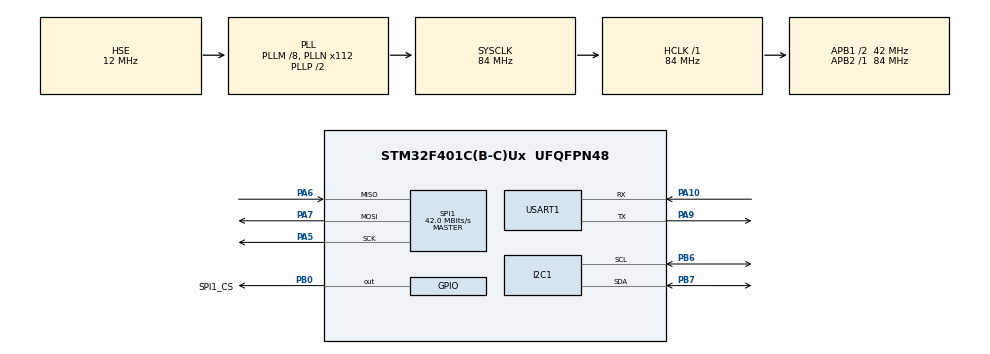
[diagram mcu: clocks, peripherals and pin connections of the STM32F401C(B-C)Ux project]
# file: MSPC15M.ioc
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Mcu.Family=STM32F4
Mcu.Name=STM32F401C(B-C)Ux
Mcu.Package=UFQFPN48
NVIC.PriorityGroup=NVIC_PRIORITYGROUP_4
PA10.Mode=Asynchronous
PA10.Signal=USART1_RX
PA5.Mode=Full_Duplex_Master
PA5.Signal=SPI1_SCK
PA6.Mode=Full_Duplex_Master
PA6.Signal=SPI1_MISO
PA7.Mode=Full_Duplex_Master
PA7.Signal=SPI1_MOSI
PA9.Mode=Asynchronous
PA9.Signal=USART1_TX
PB0.GPIO_Label=SPI1_CS
PB0.Signal=GPIO_Output
PB6.Mode=I2C
PB6.Signal=I2C1_SCL
PB7.Mode=I2C
PB7.Signal=I2C1_SDA
PC14-OSC32_IN.Mode=LSE-External-Oscillator
PC14-OSC32_IN.Signal=RCC_OSC32_IN
PC15-OSC32_OUT.Mode=LSE-External-Oscillator
PC15-OSC32_OUT.Signal=RCC_OSC32_OUT
PH0\ -\ OSC_IN.Mode=HSE-External-Oscillator
PH0\ -\ OSC_IN.Signal=RCC_OSC_IN
PH1\ -\ OSC_OUT.Mode=HSE-External-Oscillator
PH1\ -\ OSC_OUT.Signal=RCC_OSC_OUT
ProjectManager.HeapSize=0x200
ProjectManager.StackSize=0x400
ProjectManager.TargetToolchain=STM32CubeIDE
RCC.48MHZClocksFreq_Value=42000000
RCC.AHBFreq_Value=84000000
RCC.APB1CLKDivider=RCC_HCLK_DIV2
RCC.APB1Freq_Value=42000000
RCC.APB1TimFreq_Value=84000000
RCC.APB2Freq_Value=84000000
RCC.APB2TimFreq_Value=84000000
RCC.CortexFreq_Value=84000000
RCC.HCLKFreq_Value=84000000
RCC.HSE_VALUE=12000000
RCC.HSI_VALUE=16000000
RCC.PLLM=8
RCC.PLLN=112
RCC.PLLSourceVirtual=RCC_PLLSOURCE_HSE
RCC.SYSCLKFreq_VALUE=84000000
RCC.SYSCLKSource=RCC_SYSCLKSOURCE_PLLCLK
RCC.VCOOutputFreq_Value=168000000
SPI1.BaudRatePrescaler=SPI_BAUDRATEPRESCALER_2
SPI1.CalculateBaudRate=42.0 MBits/s
SPI1.Direction=SPI_DIRECTION_2LINES
SPI1.Mode=SPI_MODE_MASTER
SPI1.VirtualType=VM_MASTER
USART1.VirtualMode=VM_ASYNC
board=custom

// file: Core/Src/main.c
/* USER CODE BEGIN Header */
/**
  ******************************************************************************
  * @file           : main.c
  * @brief          : Main program body
  ******************************************************************************
  * @attention
  *
  * Copyright (c) 2023 STMicroelectronics.
  * All rights reserved.
  *
  * This software is licensed under terms that can be found in the LICENSE file
  * in the root directory of this software component.
  * If no LICENSE file comes with this software, it is provided AS-IS.
  *
  ******************************************************************************
  */
/* USER CODE END Header */
#include "main.h"
#include "i2c.h"
#include "spi.h"
#include "usart.h"
#include "gpio.h"

/* USER CODE BEGIN Includes */
#include "stdio.h"
#include "MSPC15M.h"
/* USER CODE END Includes */

/* USER CODE BEGIN PV */
MSPC15M_OTP_Typedef MSPC15M_OTP_Structure;
/* USER CODE END PV */

void SystemClock_Config(void);

int main(void) {

    /* MCU Configuration--------------------------------------------------------*/

    /* Reset of all peripherals, Initializes the Flash interface and the Systick. */
    HAL_Init();

    /* Configure the system clock */
    SystemClock_Config();

    /* Initialize all configured peripherals */
    MX_GPIO_Init();
    MX_I2C1_Init();
    MX_SPI1_Init();
    MX_USART1_UART_Init();
    /* USER CODE BEGIN 2 */
    uint8_t data_buffer[6];
    uint8_t rx_buff[256] = {0};
    float temp_f, press_f = 0.0f;
    int32_t Tadc, Braw = 0;
    /* USER CODE END 2 */

    /* Infinite loop */
    /* USER CODE BEGIN WHILE */
    MSPC15M_Init(MSPC15M_IIC_ADDR, &MSPC15M_OTP_Structure);
//    MSPC15M_Init_SPI(&MSPC15M_OTP_Structure);
    HAL_Delay(50);
    while (1) {
        /* USER CODE END WHILE */

        /* USER CODE BEGIN 3 */
        HAL_Delay(70);
        // temperature
        data_buffer[0] = MSPC15M_ReadData(MSPC15M_IIC_ADDR, 0x58);
        data_buffer[1] = MSPC15M_ReadData(MSPC15M_IIC_ADDR, 0x59);
//        MSPC15M_ReadBuffer_SPI(0x58, rx_buff, 4);
//        data_buffer[0] = rx_buff[2];
//        data_buffer[1] = rx_buff[3];
        Tadc = (data_buffer[0] & 0x7f) << 8 | data_buffer[1];
        HAL_Delay(10);

        // PRESSURE
        data_buffer[2] = MSPC15M_ReadData(MSPC15M_IIC_ADDR, 0x55);
        data_buffer[3] = MSPC15M_ReadData(MSPC15M_IIC_ADDR, 0x56);
        data_buffer[4] = MSPC15M_ReadData(MSPC15M_IIC_ADDR, 0x57);
//        MSPC15M_ReadBuffer_SPI(0x55, rx_buff, 5);
//        data_buffer[2] = rx_buff[2];
//        data_buffer[3] = rx_buff[3];
//        data_buffer[4] = rx_buff[4];
        Braw = data_buffer[2] << 16 | data_buffer[3] << 8 | data_buffer[4];

        MSPC15M_Calc(Braw, Tadc, &press_f, &temp_f, &MSPC15M_OTP_Structure);
        printf("MSPC15M: P = %.3fPa, T = %.3fC\r\n", press_f, temp_f);
    }
    /* USER CODE END 3 */
}

void SystemClock_Config(void) {
    RCC_OscInitTypeDef RCC_OscInitStruct = {0};
    RCC_ClkInitTypeDef RCC_ClkInitStruct = {0};

    /** Configure the main internal regulator output voltage
    */
    __HAL_RCC_PWR_CLK_ENABLE();
    __HAL_PWR_VOLTAGESCALING_CONFIG(PWR_REGULATOR_VOLTAGE_SCALE2);

    /** Initializes the RCC Oscillators according to the specified parameters
    * in the RCC_OscInitTypeDef structure.
    */
    RCC_OscInitStruct.OscillatorType = RCC_OSCILLATORTYPE_HSE;
    RCC_OscInitStruct.HSEState = RCC_HSE_ON;
    RCC_OscInitStruct.PLL.PLLState = RCC_PLL_ON;
    RCC_OscInitStruct.PLL.PLLSource = RCC_PLLSOURCE_HSE;
    RCC_OscInitStruct.PLL.PLLM = 8;
    RCC_OscInitStruct.PLL.PLLN = 112;
    RCC_OscInitStruct.PLL.PLLP = RCC_PLLP_DIV2;
    RCC_OscInitStruct.PLL.PLLQ = 4;
    if (HAL_RCC_OscConfig(&RCC_OscInitStruct) != HAL_OK) {
        Error_Handler();
    }

    /** Initializes the CPU, AHB and APB buses clocks
    */
    RCC_ClkInitStruct.ClockType = RCC_CLOCKTYPE_HCLK | RCC_CLOCKTYPE_SYSCLK
                                  | RCC_CLOCKTYPE_PCLK1 | RCC_CLOCKTYPE_PCLK2;
    RCC_ClkInitStruct.SYSCLKSource = RCC_SYSCLKSOURCE_PLLCLK;
    RCC_ClkInitStruct.AHBCLKDivider = RCC_SYSCLK_DIV1;
    RCC_ClkInitStruct.APB1CLKDivider = RCC_HCLK_DIV2;
    RCC_ClkInitStruct.APB2CLKDivider = RCC_HCLK_DIV1;

    if (HAL_RCC_ClockConfig(&RCC_ClkInitStruct, FLASH_LATENCY_2) != HAL_OK) {
        Error_Handler();
    }
}

void Error_Handler(void) {
    __disable_irq();
    while (1) {
    }
}
